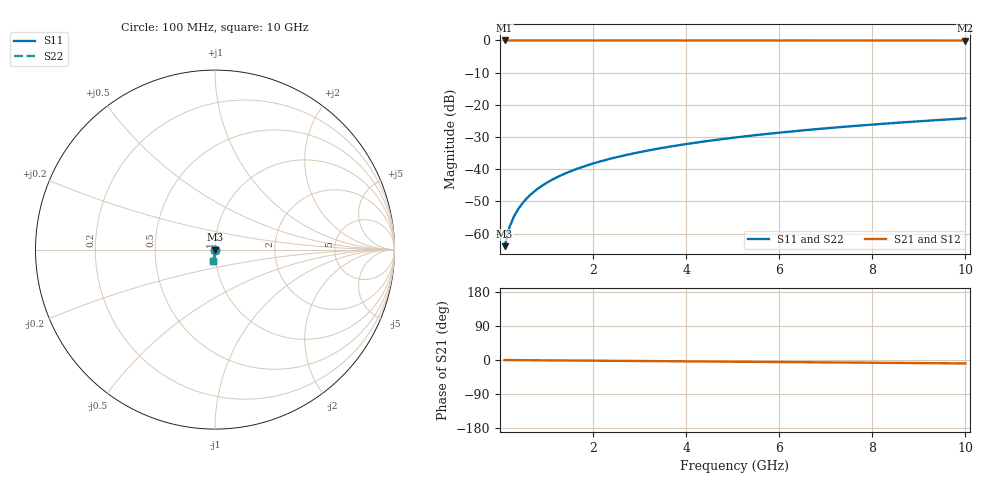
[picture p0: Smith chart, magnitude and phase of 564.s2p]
# Hz S RI R 50.00
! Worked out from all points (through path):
!   100 points, 100 MHz to 10 GHz, reference 50 ohm
!   highest |S21| = 0.00 dB at 100 MHz (marker M1); lowest = 0.0 dB at 10 GHz (marker M2)
!   group delay of S21, straight-line fit = 2.51 ps
!   lowest |S11| = -63.9 dB at 100 MHz (marker M3), VSWR 1.00, Z = 50 - j0.061 ohm
!   |S11| at or under -10 dB: start of sweep to end of sweep
!   |S22| runs from -63.9 to -24.2 dB; largest |S21 - S12| = 0
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1e8  0.000178 -0.00061  0.9998 -0.00156  0.9998 -0.00156  0.000178 -0.00061
2e8  0.000175 -0.00122  0.9998 -0.00311  0.9998 -0.00311  0.000175 -0.00122
3e8  0.00017 -0.00183  0.9998 -0.00467  0.9998 -0.00467  0.00017 -0.00183
4e8  0.000163 -0.00244  0.9998 -0.00623  0.9998 -0.00623  0.000163 -0.00244
5e8  0.000154 -0.00305  0.9998 -0.00778  0.9998 -0.00778  0.000154 -0.00305
6e8  0.000143 -0.00366  0.9998 -0.00934  0.9998 -0.00934  0.000143 -0.00366
7e8  0.00013 -0.00427  0.9997 -0.0109  0.9997 -0.0109  0.00013 -0.00427
8e8  0.000115 -0.00488  0.9997 -0.0125  0.9997 -0.0125  0.000115 -0.00488
9e8  9.87e-05 -0.00549  0.9997 -0.014  0.9997 -0.014  9.87e-05 -0.00549
1.1e9  5.93e-05 -0.00672  0.9996 -0.0171  0.9996 -0.0171  5.93e-05 -0.00672
1.4e9  -1.41e-05 -0.00855  0.9995 -0.0218  0.9995 -0.0218  -1.41e-05 -0.00855
1.8e9  -0.000139 -0.011  0.9993 -0.0281  0.9993 -0.0281  -0.000139 -0.011
2.1e9  -0.000253 -0.0128  0.9992 -0.0327  0.9992 -0.0327  -0.000253 -0.0128
2.5e9  -0.000432 -0.0153  0.9989 -0.039  0.9989 -0.039  -0.000432 -0.0153
2.9e9  -0.000642 -0.0177  0.9986 -0.0452  0.9986 -0.0452  -0.000642 -0.0177
3.4e9  -0.000948 -0.0208  0.9981 -0.0531  0.9981 -0.0531  -0.000948 -0.0208
4.2e9  -0.00154 -0.0257  0.9973 -0.0656  0.9973 -0.0656  -0.00154 -0.0257
5.1e9  -0.00235 -0.0312  0.9961 -0.0797  0.9961 -0.0797  -0.00235 -0.0312
5.9e9  -0.00321 -0.0361  0.9948 -0.0923  0.9948 -0.0923  -0.00321 -0.0361
6.7e9  -0.00419 -0.041  0.9934 -0.1048  0.9934 -0.1048  -0.00419 -0.041
8.4e9  -0.0067 -0.0513  0.9897 -0.1316  0.9897 -0.1316  -0.0067 -0.0513
1e10  -0.00957 -0.0608  0.9854 -0.1567  0.9854 -0.1567  -0.00957 -0.0608
